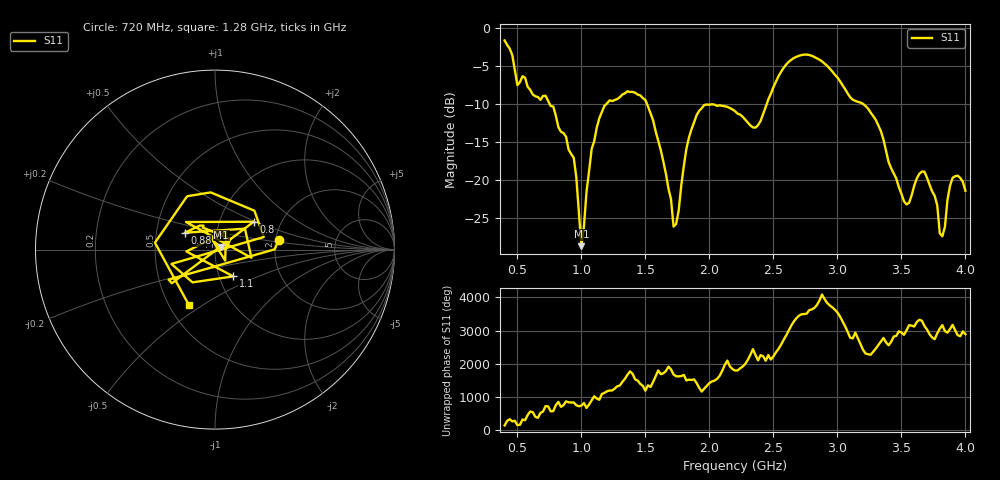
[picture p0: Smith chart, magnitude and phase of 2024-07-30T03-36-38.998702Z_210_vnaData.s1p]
!Created with skrf (http://scikit-rf.org).
# Hz S RI R 50.0
!freq ReS11 ImS11
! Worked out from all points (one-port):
!   181 points, 400 MHz to 4 GHz, reference 50 ohm
!   lowest |S11| = -28.7 dB at 1 GHz (marker M1), VSWR 1.08, Z = 53.5 + j1.52 ohm
!   |S11| at or under -10 dB: 753 MHz to 1.194 GHz (441 MHz wide, 45.3 % of centre); 1.513 GHz to 2.448 GHz (934.6 MHz wide, 47.2 % of centre); 3.203 GHz to end of sweep
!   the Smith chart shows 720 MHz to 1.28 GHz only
!   S11 on the Smith chart (normalised r, x): 720 MHz: 2.08, +0.26; 800 MHz: 1.45, +0.49; 880 MHz: 0.70, +0.14; 1.1 GHz: 1.17, -0.36; 1.28 GHz: 0.63, -0.44
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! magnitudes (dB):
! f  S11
! 400 MHz  -1.6
! 500 MHz  -7.5
! 720 MHz  -8.9
! 800 MHz  -11.5
! 860 MHz  -13.8
! 880 MHz  -14.3
! 940 MHz  -17.1
! 1 GHz  -28.7
! 1.1 GHz  -14.9
! 1.18 GHz  -10.2
! 1.28 GHz  -9.3
! 1.3 GHz  -9.1
! 1.5 GHz  -9.5
! 1.64 GHz  -17.6
! 1.72 GHz  -26.2
! 1.76 GHz  -24.0
! 1.82 GHz  -15.9
! 1.9 GHz  -11.5
! 2.2 GHz  -10.9
! 2.36 GHz  -13.1
! 2.66 GHz  -3.9
! 3.1 GHz  -9.1
! 3.3 GHz  -12.1
! 3.56 GHz  -23.0
! 3.68 GHz  -18.9
! 3.82 GHz  -27.4
! 3.9 GHz  -19.7
! 4 GHz  -21.4
